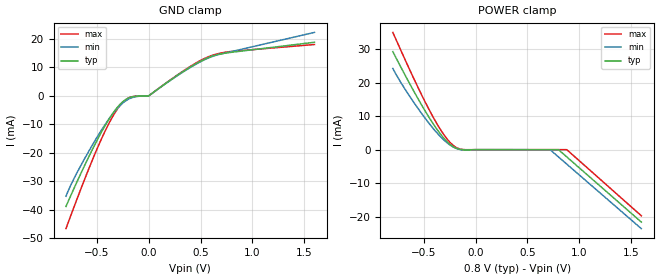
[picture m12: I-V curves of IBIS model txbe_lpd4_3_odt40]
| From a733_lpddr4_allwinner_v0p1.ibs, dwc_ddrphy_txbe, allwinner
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[Model] txbe_lpd4_3_odt40
Model_type   Input
Polarity   Non-Inverting
Enable   Active-High
C_comp   914.186fF   914.151fF   919.942fF
C_comp_pullup   262.395fF   259.907fF   266.636fF
C_comp_pulldown 489.961fF   487.967fF   503.945fF
Vinh = 427.000mV
Vinl = 307.000mV
[Model Spec]
D_overshoot_ampl_h 0.1 NA   NA
D_overshoot_ampl_l 0.1 NA   NA
D_overshoot_area_l 300.000m NA   NA
D_overshoot_area_h 300.000m NA   NA
[Receiver Thresholds]
Vth = 183.000mV
Vth_min = 177.000mV
Vth_max = 195.000mV
Vinh_ac = 60.000mV
Vinh_dc = 60.000mV
Vinl_ac = -60.000mV
Vinl_dc = -60.000mV
Tslew_ac = 5.000ns
Threshold_sensitivity = 0.5
Reference_supply Power_clamp_ref
[Temperature Range]   25.000   125.000   -40.000
[Voltage Range]   800.000mV   720.000mV   880.000mV
[GND Clamp Reference]   0.00V   0.00V   0.00V
[C Comp Corner]
| variable   typ   min   max
C_comp 914.151fF   919.942fF   914.186fF
C_comp_pullup 266.636fF   259.907fF   262.395fF
C_comp_pulldown 489.961fF   503.945fF   487.967fF
[POWER Clamp Reference]   800.000mV   720.000mV   880.000mV
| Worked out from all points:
|   GND clamp passes 1 mA (typ) near -0.21 V on its own axis
|   POWER clamp passes 1 mA (typ) near -0.22 V on its own axis
[GND Clamp]
-800mV    -38.82mA   -35.24mA   -46.6mA
-670mV    -28.32mA   -25.38mA   -34mA
-550mV    -19.21mA   -17.59mA   -22.97mA
-450mV    -12.25mA   -11.63mA   -14.56mA
-330mV    -5.265mA   -5.508mA   -6.129mA
-230mV    -1.466mA   -1.931mA   -1.566mA
-160mV    -345.7uA   -614.3uA   -296.8uA
0V        0A         0A         0A
410mV     10.31mA    10.13mA    10.52mA
630mV     14.12mA    14.01mA    14.39mA
800mV     15.27mA    15.53mA    15.58mA
1.6V      18.79mA    22.25mA    18mA
[Power Clamp]
-800mV    29.29mA    24.24mA    35.02mA
-720mV    24.5mA     19.93mA    29.5mA
-620mV    18.73mA    15.15mA    22.72mA
-420mV    8.192mA    6.692mA    10.24mA
-300mV    3.17mA     2.68mA     4.17mA
-250mV    1.64mA     1.43mA     2.25mA
-200mV    580uA      530uA      880uA
-100mV    -60uA      -115uA     -10uA
720mV     -4.724uA   -39.27uA   -1.453uA
800mV     -5.499uA   -2.181mA   -1.722uA
880mV     -2.168mA   -4.322mA   -1.998uA
1.6V      -21.63mA   -23.59mA   -19.74mA
